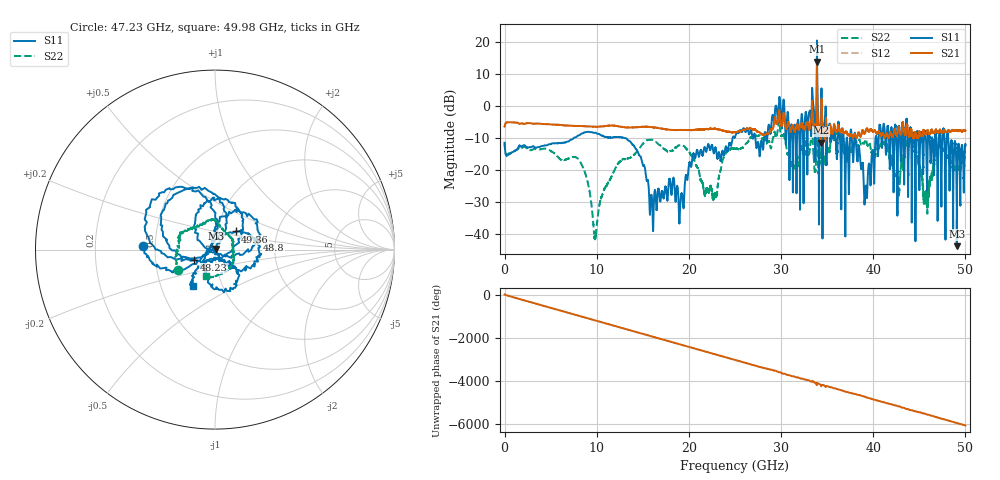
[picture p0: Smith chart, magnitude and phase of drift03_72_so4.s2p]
!Created with skrf (http://scikit-rf.org).
# Hz S RI R 50.0
!freq ReS11 ImS11 ReS21 ImS21 ReS12 ImS12 ReS22 ImS22
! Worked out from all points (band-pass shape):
!   10001 points, 300 kHz to 50 GHz, reference 50 ohm
!   highest |S21| = 13.82 dB at 33.9 GHz (marker M1); lowest = -11.4 dB at 34.32 GHz (marker M2)
!   |S21| within 3 dB of the highest: 33.89035 GHz to 33.90389 GHz (13.54 MHz wide, 0.04 % of centre)
!   lowest |S11| = -43.7 dB at 49.07 GHz (marker M3), VSWR 1.01, Z = 50.4 + j0.541 ohm
!   |S11| at or under -10 dB: start of sweep to 7.488 GHz; 13.13 GHz to 24.74 GHz (11.61 GHz wide, 61.3 % of centre); 38.09 GHz to 40.25 GHz (2.159 GHz wide, 5.51 % of centre) (the widest 3 of 52)
!   |S22| runs from -41.7 to 6.3 dB; largest |S21 - S12| = 0.36
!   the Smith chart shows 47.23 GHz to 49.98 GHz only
!   S11 on the Smith chart (normalised r, x): 47.23 GHz: 0.43, +0.02; 48.23 GHz: 0.79, -0.09; 48.8 GHz: 1.61, +0.19; 49.36 GHz: 1.23, +0.25; 49.98 GHz: 0.72, -0.31
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300000  -0.2376 -0.1259  0.4672 0.0844  0.465 0.0849  -0.2333 -0.1334
1.440291e9  0.21 0.0648  -0.5478 -0.0296  -0.5479 -0.029  0.2116 -0.00413
2.915283e9  -0.2121 -0.088  0.5346 0.0518  0.5346 0.0517  -0.2017 0.0401
4.415274e9  0.2055 0.1323  -0.5219 -0.0421  -0.5218 -0.0421  0.1986 -0.0871
8.33525e9  0.2886 -0.2336  0.1457 0.466  0.1459 0.4662  -0.0724 -0.1015
9.840241e9  -0.365 0.1252  -0.1429 -0.4538  -0.1432 -0.4538  0.00844 0.00184
1.66702e10  0.0275 0.0432  -0.379 0.2531  -0.3784 0.2534  -0.1288 -0.2201
2.500015e10  -0.3262 -0.015  -0.255 -0.297  -0.2539 -0.2984  -0.2131 0.0297
2.895013e10  -0.3219 0.4226  -0.2924 0.3248  -0.3037 0.2879  0.0635 0.2219
3.006512e10  0.3967 0.2663  0.4498 -0.197  0.4537 -0.1825  0.1768 -0.2975
3.171011e10  -0.0935 0.1902  -0.3605 0.3583  -0.3639 0.3543  0.066 0.1602
3.33351e10  0.6441 -0.8005  0.2637 -0.8438  0.2619 -0.8263  -0.1855 -0.4246
3.38951e10  -2.317 -10.26  -4.854 0.7511  -4.55 0.9541  0.497 2
3.432009e10  -0.7768 -0.000573  -0.1805 0.1993  -0.2435 0.1797  0.1421 -0.0758
4.167005e10  -0.2041 0.3003  0.3157 0.00244  0.3157 0.00965  -0.1921 -0.0105
4.722502e10  -0.4017 0.0213  0.2926 0.3135  0.2873 0.3111  -0.2067 -0.1159
4.823001e10  -0.1153 -0.0581  0.1227 -0.3896  0.1243 -0.3935  -0.017 0.1684
4.880001e10  0.2363 0.0554  -0.3411 -0.2345  -0.3421 -0.2329  0.0963 0.0615
4.906501e10  0.00377 0.00537  -0.4199 -0.0274  -0.4198 -0.0283  0.0969 0.0136
4.936e10  0.1147 0.101  -0.3522 0.2203  -0.3525 0.2181  0.1051 -0.0536
4.998e10  -0.1238 -0.2019  0.1202 0.3941  0.1218 0.3914  -0.0488 -0.1481
5e10  -0.1174 -0.2152  0.1446 0.3837  0.1425 0.3832  -0.0522 -0.1447
